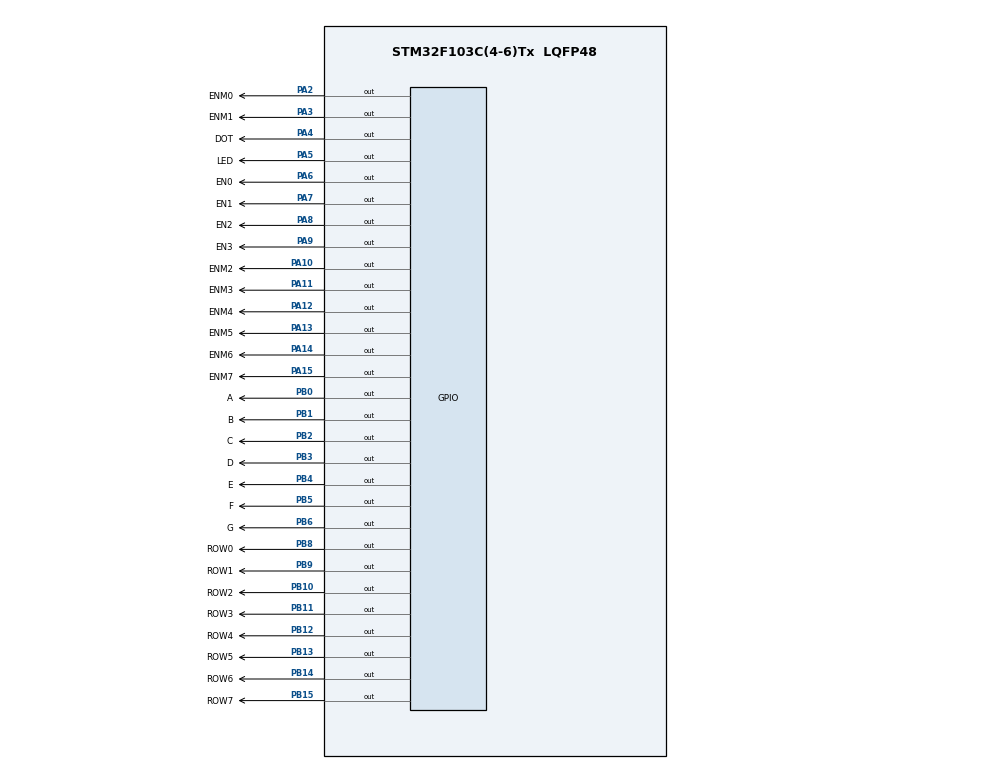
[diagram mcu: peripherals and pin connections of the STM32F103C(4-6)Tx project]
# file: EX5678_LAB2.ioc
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Mcu.Family=STM32F1
Mcu.Name=STM32F103C(4-6)Tx
Mcu.Package=LQFP48
NVIC.PriorityGroup=NVIC_PRIORITYGROUP_4
NVIC.TIM2_IRQn=true\:0\:0\:false\:false\:true\:true\:true\:true
PA10.GPIO_Label=ENM2
PA10.Signal=GPIO_Output
PA11.GPIO_Label=ENM3
PA11.Signal=GPIO_Output
PA12.GPIO_Label=ENM4
PA12.Signal=GPIO_Output
PA13.GPIO_Label=ENM5
PA13.Signal=GPIO_Output
PA14.GPIO_Label=ENM6
PA14.Signal=GPIO_Output
PA15.GPIO_Label=ENM7
PA15.Signal=GPIO_Output
PA2.GPIO_Label=ENM0
PA2.Signal=GPIO_Output
PA3.GPIO_Label=ENM1
PA3.Signal=GPIO_Output
PA4.GPIO_Label=DOT
PA4.Signal=GPIO_Output
PA5.GPIO_Label=LED
PA5.Signal=GPIO_Output
PA6.GPIO_Label=EN0
PA6.Signal=GPIO_Output
PA7.GPIO_Label=EN1
PA7.Signal=GPIO_Output
PA8.GPIO_Label=EN2
PA8.Signal=GPIO_Output
PA9.GPIO_Label=EN3
PA9.Signal=GPIO_Output
PB0.GPIO_Label=A
PB0.Signal=GPIO_Output
PB1.GPIO_Label=B
PB1.Signal=GPIO_Output
PB10.GPIO_Label=ROW2
PB10.Signal=GPIO_Output
PB11.GPIO_Label=ROW3
PB11.Signal=GPIO_Output
PB12.GPIO_Label=ROW4
PB12.Signal=GPIO_Output
PB13.GPIO_Label=ROW5
PB13.Signal=GPIO_Output
PB14.GPIO_Label=ROW6
PB14.Signal=GPIO_Output
PB15.GPIO_Label=ROW7
PB15.Signal=GPIO_Output
PB2.GPIO_Label=C
PB2.Signal=GPIO_Output
PB3.GPIO_Label=D
PB3.Signal=GPIO_Output
PB4.GPIO_Label=E
PB4.Signal=GPIO_Output
PB5.GPIO_Label=F
PB5.Signal=GPIO_Output
PB6.GPIO_Label=G
PB6.Signal=GPIO_Output
PB8.GPIO_Label=ROW0
PB8.Signal=GPIO_Output
PB9.GPIO_Label=ROW1
PB9.Signal=GPIO_Output
ProjectManager.HeapSize=0x200
ProjectManager.StackSize=0x400
ProjectManager.TargetToolchain=STM32CubeIDE
RCC.APB1Freq_Value=8000000
RCC.APB2Freq_Value=8000000
TIM2.Period=9
TIM2.Prescaler=7999
VP_SYS_VS_ND.Mode=No_Debug
VP_TIM2_VS_ClockSourceINT.Mode=Internal
board=custom

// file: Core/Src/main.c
/* USER CODE BEGIN Header */
/**
  ******************************************************************************
  * @file           : main.c
  * @brief          : Main program body
  ******************************************************************************
  * @attention
  *
  * Copyright (c) 2025 STMicroelectronics.
  * All rights reserved.
  *
  * This software is licensed under terms that can be found in the LICENSE file
  * in the root directory of this software component.
  * If no LICENSE file comes with this software, it is provided AS-IS.
  *
  ******************************************************************************
  */
/* USER CODE END Header */
#include "main.h"

TIM_HandleTypeDef htim2;

void SystemClock_Config(void);
static void MX_GPIO_Init(void);
static void MX_TIM2_Init(void);

/* USER CODE BEGIN 0 */
#define MAX_LED 4U
#define SCAN_TICKS 25U
#define DOT_TICKS 100U

#define TIMER_CYCLE 10U

#define MAX_LED_MATRIX 8U
#define MATRIX_SCROLL_WIDTH 16U
#define MATRIX_SCROLL_MASK (MATRIX_SCROLL_WIDTH - 1U)
#define MATRIX_SCAN_TIME_MS 2U
#define MATRIX_ANIMATION_TIME_MS 100U

#define MATRIX_EN_ALL_PINS (ENM0_Pin | ENM1_Pin | \
                            ENM2_Pin | ENM3_Pin | \
                            ENM4_Pin | ENM5_Pin | \
                            ENM6_Pin | ENM7_Pin)

#define MATRIX_ROW_ALL_PINS (ROW0_Pin | ROW1_Pin | \
                             ROW2_Pin | ROW3_Pin | \
                             ROW4_Pin | ROW5_Pin | \
                             ROW6_Pin | ROW7_Pin)

static const uint16_t matrixEnablePins[MAX_LED_MATRIX] =
{
    ENM0_Pin,
    ENM1_Pin,
    ENM2_Pin,
    ENM3_Pin,
    ENM4_Pin,
    ENM5_Pin,
    ENM6_Pin,
    ENM7_Pin
};

/*
 * Mot chu ky cuon gom 8 cot chu A va 8 cot trong.
 * Moi byte la du lieu 8 hang cua mot cot; bit 1 nghia la LED sang.
 */
static const uint8_t matrixScrollData[MATRIX_SCROLL_WIDTH] =
{
    0x00U,
    0xFCU,
    0x0AU,
    0x09U,
    0x09U,
    0x0AU,
    0xFCU,
    0x00U,
    0x00U,
    0x00U,
    0x00U,
    0x00U,
    0x00U,
    0x00U,
    0x00U,
    0x00U
};

static volatile uint8_t index_led_matrix = 0U;
static uint8_t matrixScrollOffset = 0U;
static uint32_t matrixLastTick = 0U;
static uint32_t matrixAnimationLastTick = 0U;

static void updateLEDMatrix(uint8_t index)
{
    uint8_t dataIndex;
    uint8_t columnData;
    uint32_t rowBsrr;

    if (index >= MAX_LED_MATRIX)
    {
        return;
    }

    dataIndex = (uint8_t)((matrixScrollOffset + index) & MATRIX_SCROLL_MASK);
    columnData = matrixScrollData[dataIndex];

    /*
     * ROW0..ROW7 nam lien tuc tai PB8..PB15 va active-low.
     * Nua duoi BSRR SET cac bit 0 cua bitmap; nua tren RESET cac bit 1.
     */
    rowBsrr = ((uint32_t)((~columnData) & 0xFFU) << 8U) |
              ((uint32_t)columnData << 24U);

    /* 3 phep ghi thanh ghi thay cho 4 HAL call va vong lap 8 lan. */
    GPIOA->BSRR = (uint32_t)MATRIX_EN_ALL_PINS;
    GPIOB->BSRR = rowBsrr;
    GPIOA->BSRR = (uint32_t)matrixEnablePins[index] << 16U;
}

static volatile uint16_t timer0_counter = 0U;
static volatile uint8_t timer0_flag = 0U;

static volatile uint16_t timer1_counter = 0U;
static volatile uint8_t timer1_flag = 0U;

static volatile uint8_t index_led = 0U;
static volatile uint16_t scan_counter = 0U;
static volatile uint16_t dot_counter = 0U;

static uint8_t hour = 15U;
static uint8_t minute = 8U;
static uint8_t second = 50U;

#define SEG_ALL_PINS (GPIO_PIN_0 | GPIO_PIN_1 | GPIO_PIN_2 | \
                      GPIO_PIN_3 | GPIO_PIN_4 | GPIO_PIN_5 | \
                      GPIO_PIN_6)

#define DIGIT_ALL_PINS (GPIO_PIN_6 | GPIO_PIN_7 | \
                        GPIO_PIN_8 | GPIO_PIN_9)

static const uint8_t segPattern[10] =
{
    0x3FU, // 0
    0x06U, // 1
    0x5BU, // 2
    0x4FU, // 3
    0x66U, // 4
    0x6DU, // 5
    0x7DU, // 6
    0x07U, // 7
    0x7FU, // 8
    0x6FU  // 9
};

static const uint16_t digitEnablePins[MAX_LED] =
{
    GPIO_PIN_6, // index 0 → EN0 → PA6
    GPIO_PIN_7, // index 1 → EN1 → PA7
    GPIO_PIN_8, // index 2 → EN2 → PA8
    GPIO_PIN_9  // index 3 → EN3 → PA9
};

static uint8_t ledBuffer[MAX_LED] =
{
    1U, // Digit 0
    5U, // Digit 1
    0U, // Digit 2
    8U  // Digit 3
};

static void setTimer0(uint16_t duration)
{
    timer0_counter = duration / TIMER_CYCLE;
    timer0_flag = 0U;
}

static void setTimer1(uint16_t duration)
{
    timer1_counter = duration / TIMER_CYCLE;
    timer1_flag = 0U;
}

static void timer_run(void)
{
    if (timer0_counter > 0U)
    {
        timer0_counter--;

        if (timer0_counter == 0U)
        {
            timer0_flag = 1U;
        }
    }

    if (timer1_counter > 0U)
    {
        timer1_counter--;

        if (timer1_counter == 0U)
        {
            timer1_flag = 1U;
        }
    }

}

static void disableAllDigits(void)
{
    HAL_GPIO_WritePin(
        GPIOA,
        DIGIT_ALL_PINS,
        GPIO_PIN_SET
    );
}

static void display7SEG(uint8_t number)
{
    if (number > 9U)
    {
        return;
    }

    HAL_GPIO_WritePin(
        GPIOB,
        SEG_ALL_PINS,
        GPIO_PIN_SET
    );

    HAL_GPIO_WritePin(
        GPIOB,
        (uint16_t)segPattern[number],
        GPIO_PIN_RESET
    );
}

static void update7SEG(uint8_t index)
{
    if (index >= MAX_LED)
    {
        return;
    }

    disableAllDigits();
    display7SEG(ledBuffer[index]);
    HAL_GPIO_WritePin(
        GPIOA,
        digitEnablePins[index],
        GPIO_PIN_RESET
    );
}

static void updateClockBuffer(void)
{
    ledBuffer[0] = hour / 10U;
    ledBuffer[1] = hour % 10U;

    ledBuffer[2] = minute / 10U;
    ledBuffer[3] = minute % 10U;
}

static void increaseClockOneSecond(void)
{
    second++;

    if (second >= 60U)
    {
        second = 0U;
        minute++;
    }

    if (minute >= 60U)
    {
        minute = 0U;
        hour++;
    }

    if (hour >= 24U)
    {
        hour = 0U;
    }
}

/* USER CODE END 0 */

int main(void)
{

  /* MCU Configuration--------------------------------------------------------*/

  /* Reset of all peripherals, Initializes the Flash interface and the Systick. */
  HAL_Init();

  /* Configure the system clock */
  SystemClock_Config();

  /* Initialize all configured peripherals */
  MX_GPIO_Init();
  MX_TIM2_Init();
  /* USER CODE BEGIN 2 */
  disableAllDigits();

  HAL_GPIO_WritePin(
      GPIOA,
      GPIO_PIN_4,
      GPIO_PIN_SET
  );

  updateClockBuffer();

  index_led = 0U;
  update7SEG(index_led);

  HAL_GPIO_WritePin(
      GPIOA,
      MATRIX_EN_ALL_PINS,
      GPIO_PIN_SET
  );

  HAL_GPIO_WritePin(
      GPIOB,
      MATRIX_ROW_ALL_PINS,
      GPIO_PIN_SET
  );

  index_led_matrix = 0U;

  setTimer0(1000U);

  setTimer1(250U);

  HAL_TIM_Base_Start_IT(&htim2);
  /* USER CODE END 2 */

  /* Infinite loop */
  /* USER CODE BEGIN WHILE */
  while (1)
  {
	    /*
	     * Clock và DOT.
	     */
	    if (timer0_flag == 1U)
	    {
	        increaseClockOneSecond();
	        updateClockBuffer();

	        HAL_GPIO_TogglePin(
	            GPIOA,
	            GPIO_PIN_4
	        );

	        setTimer0(1000U);
	    }

	    /*
	     * Quét bốn LED 7 đoạn.
	     */
	    if (timer1_flag == 1U)
	    {
	        index_led++;

	        if (index_led >= MAX_LED)
	        {
	            index_led = 0U;
	        }

	        update7SEG(index_led);
	        setTimer1(250U);
	    }

	    uint32_t currentTick = HAL_GetTick();

	    if ((currentTick - matrixLastTick) >= MATRIX_SCAN_TIME_MS)
	    {
	        matrixLastTick = currentTick;

	        updateLEDMatrix(index_led_matrix);

	        index_led_matrix++;

	        if (index_led_matrix >= MAX_LED_MATRIX)
	        {
	            index_led_matrix = 0U;
	        }
	    }

	    /* Chi doi frame khi vua quet xong cot 7 de tranh xe hinh. */
	    if (((currentTick - matrixAnimationLastTick) >= MATRIX_ANIMATION_TIME_MS) &&
	        (index_led_matrix == 0U))
	    {
	        matrixAnimationLastTick = currentTick;
	        matrixScrollOffset = (uint8_t)((matrixScrollOffset + 1U) &
	                                       MATRIX_SCROLL_MASK);
	    }

    /* USER CODE END WHILE */

  }
}

void SystemClock_Config(void)
{
  RCC_OscInitTypeDef RCC_OscInitStruct = {0};
  RCC_ClkInitTypeDef RCC_ClkInitStruct = {0};

  /** Initializes the RCC Oscillators according to the specified parameters
  * in the RCC_OscInitTypeDef structure.
  */
  RCC_OscInitStruct.OscillatorType = RCC_OSCILLATORTYPE_HSI;
  RCC_OscInitStruct.HSIState = RCC_HSI_ON;
  RCC_OscInitStruct.HSICalibrationValue = RCC_HSICALIBRATION_DEFAULT;
  RCC_OscInitStruct.PLL.PLLState = RCC_PLL_NONE;
  if (HAL_RCC_OscConfig(&RCC_OscInitStruct) != HAL_OK)
  {
    Error_Handler();
  }

  /** Initializes the CPU, AHB and APB buses clocks
  */
  RCC_ClkInitStruct.ClockType = RCC_CLOCKTYPE_HCLK|RCC_CLOCKTYPE_SYSCLK
                              |RCC_CLOCKTYPE_PCLK1|RCC_CLOCKTYPE_PCLK2;
  RCC_ClkInitStruct.SYSCLKSource = RCC_SYSCLKSOURCE_HSI;
  RCC_ClkInitStruct.AHBCLKDivider = RCC_SYSCLK_DIV1;
  RCC_ClkInitStruct.APB1CLKDivider = RCC_HCLK_DIV1;
  RCC_ClkInitStruct.APB2CLKDivider = RCC_HCLK_DIV1;

  if (HAL_RCC_ClockConfig(&RCC_ClkInitStruct, FLASH_LATENCY_0) != HAL_OK)
  {
    Error_Handler();
  }
}

static void MX_TIM2_Init(void)
{

  TIM_ClockConfigTypeDef sClockSourceConfig = {0};
  TIM_MasterConfigTypeDef sMasterConfig = {0};

  htim2.Instance = TIM2;
  htim2.Init.Prescaler = 7999;
  htim2.Init.CounterMode = TIM_COUNTERMODE_UP;
  htim2.Init.Period = 9;
  htim2.Init.ClockDivision = TIM_CLOCKDIVISION_DIV1;
  htim2.Init.AutoReloadPreload = TIM_AUTORELOAD_PRELOAD_DISABLE;
  if (HAL_TIM_Base_Init(&htim2) != HAL_OK)
  {
    Error_Handler();
  }
  sClockSourceConfig.ClockSource = TIM_CLOCKSOURCE_INTERNAL;
  if (HAL_TIM_ConfigClockSource(&htim2, &sClockSourceConfig) != HAL_OK)
  {
    Error_Handler();
  }
  sMasterConfig.MasterOutputTrigger = TIM_TRGO_RESET;
  sMasterConfig.MasterSlaveMode = TIM_MASTERSLAVEMODE_DISABLE;
  if (HAL_TIMEx_MasterConfigSynchronization(&htim2, &sMasterConfig) != HAL_OK)
  {
    Error_Handler();
  }

}

static void MX_GPIO_Init(void)
{
  GPIO_InitTypeDef GPIO_InitStruct = {0};

  /* GPIO Ports Clock Enable */
  __HAL_RCC_GPIOA_CLK_ENABLE();
  __HAL_RCC_GPIOB_CLK_ENABLE();

  /*Configure GPIO pin Output Level */
  HAL_GPIO_WritePin(GPIOA, ENM0_Pin|ENM1_Pin|DOT_Pin|LED_Pin
                          |EN0_Pin|EN1_Pin|EN2_Pin|EN3_Pin
                          |ENM2_Pin|ENM3_Pin|ENM4_Pin|ENM5_Pin
                          |ENM6_Pin|ENM7_Pin, GPIO_PIN_RESET);

  /*Configure GPIO pin Output Level */
  HAL_GPIO_WritePin(GPIOB, A_Pin|B_Pin|C_Pin|ROW2_Pin
                          |ROW3_Pin|ROW4_Pin|ROW5_Pin|ROW6_Pin
                          |ROW7_Pin|D_Pin|E_Pin|F_Pin
                          |G_Pin|ROW0_Pin|ROW1_Pin, GPIO_PIN_RESET);

  /*Configure GPIO pins : ENM0_Pin ENM1_Pin DOT_Pin LED_Pin
                           EN0_Pin EN1_Pin EN2_Pin EN3_Pin
                           ENM2_Pin ENM3_Pin ENM4_Pin ENM5_Pin
                           ENM6_Pin ENM7_Pin */
  GPIO_InitStruct.Pin = ENM0_Pin|ENM1_Pin|DOT_Pin|LED_Pin
                          |EN0_Pin|EN1_Pin|EN2_Pin|EN3_Pin
                          |ENM2_Pin|ENM3_Pin|ENM4_Pin|ENM5_Pin
                          |ENM6_Pin|ENM7_Pin;
  GPIO_InitStruct.Mode = GPIO_MODE_OUTPUT_PP;
  GPIO_InitStruct.Pull = GPIO_NOPULL;
  GPIO_InitStruct.Speed = GPIO_SPEED_FREQ_LOW;
  HAL_GPIO_Init(GPIOA, &GPIO_InitStruct);

  /*Configure GPIO pins : A_Pin B_Pin C_Pin ROW2_Pin
                           ROW3_Pin ROW4_Pin ROW5_Pin ROW6_Pin
                           ROW7_Pin D_Pin E_Pin F_Pin
                           G_Pin ROW0_Pin ROW1_Pin */
  GPIO_InitStruct.Pin = A_Pin|B_Pin|C_Pin|ROW2_Pin
                          |ROW3_Pin|ROW4_Pin|ROW5_Pin|ROW6_Pin
                          |ROW7_Pin|D_Pin|E_Pin|F_Pin
                          |G_Pin|ROW0_Pin|ROW1_Pin;
  GPIO_InitStruct.Mode = GPIO_MODE_OUTPUT_PP;
  GPIO_InitStruct.Pull = GPIO_NOPULL;
  GPIO_InitStruct.Speed = GPIO_SPEED_FREQ_LOW;
  HAL_GPIO_Init(GPIOB, &GPIO_InitStruct);

}

/* USER CODE BEGIN 4 */
void HAL_TIM_PeriodElapsedCallback(TIM_HandleTypeDef *htim)
{
    if (htim->Instance == TIM2)
    {
        timer_run();
    }
}
/* USER CODE END 4 */

void Error_Handler(void)
{
  __disable_irq();
  while (1)
  {
  }
}
